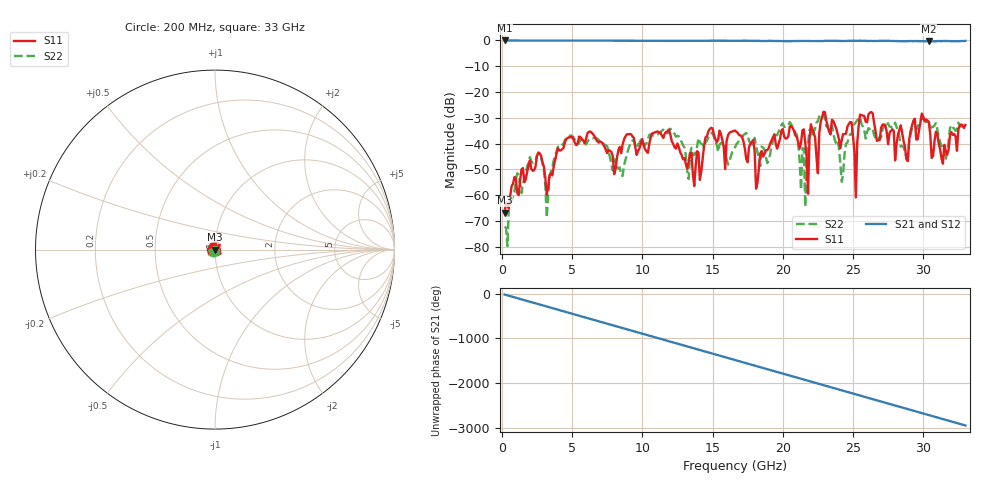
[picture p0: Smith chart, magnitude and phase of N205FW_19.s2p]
# GHZ S RI R 50
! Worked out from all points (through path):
!   329 points, 200 MHz to 33 GHz, reference 50 ohm
!   highest |S21| = -0.02 dB at 200 MHz (marker M1); lowest = -0.4 dB at 30.4 GHz (marker M2)
!   group delay of S21, straight-line fit = 248 ps
!   lowest |S11| = -66.8 dB at 200 MHz (marker M3), VSWR 1.00, Z = 50 + j0.00891 ohm
!   |S11| at or under -10 dB: start of sweep to end of sweep
!   |S22| runs from -79.8 to -28.3 dB; largest |S21 - S12| = 0.0022
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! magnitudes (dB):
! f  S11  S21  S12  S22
! 200 MHz  -66.8  0.0  0.0  -72.2
! 2 GHz  -46.5  -0.1  -0.1  -45.3
! 5.7 GHz  -38.3  -0.1  -0.1  -38.7
! 11.2 GHz  -35.7  -0.2  -0.2  -35.9
! 13.7 GHz  -56.5  -0.1  -0.1  -44.3
! 16.6 GHz  -35.0  -0.1  -0.1  -41.5
! 18.1 GHz  -57.5  -0.2  -0.2  -41.1
! 20.5 GHz  -33.4  -0.3  -0.3  -31.7
! 21.3 GHz  -39.8  -0.2  -0.2  -58.0
! 21.5 GHz  -34.5  -0.2  -0.2  -42.0
! 21.6 GHz  -39.6  -0.2  -0.2  -64.5
! 21.8 GHz  -59.5  -0.2  -0.2  -40.1
! 22.1 GHz  -34.2  -0.3  -0.3  -37.6
! 22.5 GHz  -51.6  -0.3  -0.3  -31.3
! 22.9 GHz  -27.7  -0.2  -0.2  -28.3
! 24.2 GHz  -38.5  -0.2  -0.2  -54.8
! 24.9 GHz  -31.8  -0.2  -0.2  -36.5
! 25.2 GHz  -60.9  -0.2  -0.1  -31.7
! 25.5 GHz  -28.8  -0.1  -0.1  -29.8
! 27.6 GHz  -35.9  -0.2  -0.2  -33.4
! 30.4 GHz  -31.9  -0.4  -0.4  -31.5
! 33 GHz  -32.8  -0.2  -0.2  -34.4
